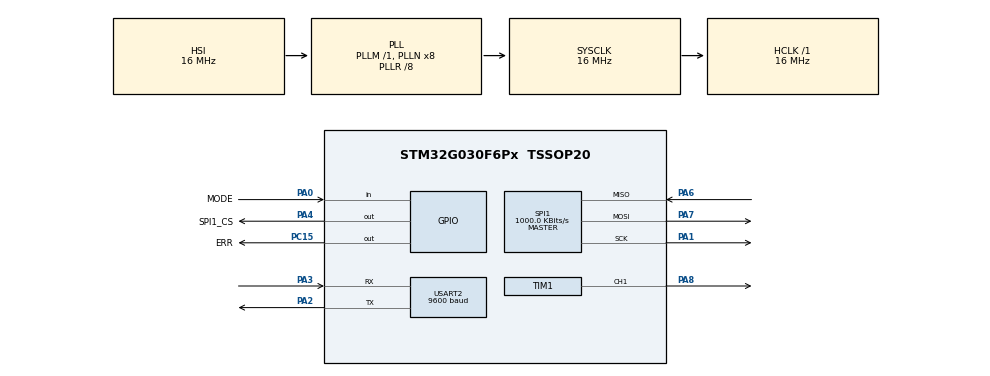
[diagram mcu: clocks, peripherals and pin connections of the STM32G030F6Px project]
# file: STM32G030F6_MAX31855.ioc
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Mcu.Family=STM32G0
Mcu.Name=STM32G030F6Px
Mcu.Package=TSSOP20
PA0.GPIO_Label=MODE
PA0.GPIO_PuPd=GPIO_PULLUP
PA0.Signal=GPIO_Input
PA1.Mode=Full_Duplex_Master
PA1.Signal=SPI1_SCK
PA13.Mode=Serial_Wire
PA13.Signal=SYS_SWDIO
PA14-BOOT0.Mode=Serial_Wire
PA14-BOOT0.Signal=SYS_SWCLK
PA2.Mode=Asynchronous
PA2.Signal=USART2_TX
PA3.Mode=Asynchronous
PA3.Signal=USART2_RX
PA4.GPIO_Label=SPI1_CS
PA4.PinState=GPIO_PIN_SET
PA4.Signal=GPIO_Output
PA6.Mode=Full_Duplex_Master
PA6.Signal=SPI1_MISO
PA7.Mode=Full_Duplex_Master
PA7.Signal=SPI1_MOSI
PA8.Signal=S_TIM1_CH1
PC15-OSC32_OUT\ (PC15).GPIO_Label=ERR
PC15-OSC32_OUT\ (PC15).Signal=GPIO_Output
ProjectManager.HeapSize=0x200
ProjectManager.StackSize=0x400
ProjectManager.TargetToolchain=SW4STM32
RCC.ADCFreq_Value=16000000
RCC.AHBFreq_Value=16000000
RCC.CortexFreq_Value=16000000
RCC.EXTERNAL_CLOCK_VALUE=12288000
RCC.HCLKFreq_Value=16000000
RCC.HSE_VALUE=8000000
RCC.HSI_VALUE=16000000
RCC.LSE_VALUE=32768
RCC.PLLR=RCC_PLLR_DIV8
RCC.SYSCLKFreq_VALUE=16000000
RCC.SYSCLKSource=RCC_SYSCLKSOURCE_PLLCLK
RCC.VCOOutputFreq_Value=128000000
SH.S_TIM1_CH1.0=TIM1_CH1,PWM Generation1 CH1
SPI1.BaudRatePrescaler=SPI_BAUDRATEPRESCALER_16
SPI1.CalculateBaudRate=1000.0 KBits/s
SPI1.Direction=SPI_DIRECTION_2LINES
SPI1.Mode=SPI_MODE_MASTER
SPI1.VirtualType=VM_MASTER
TIM1.Channel-PWM\ Generation1\ CH1=TIM_CHANNEL_1
TIM1.Period=4096
TIM1.Prescaler=2
USART2.BaudRate=9600
USART2.VirtualMode-Asynchronous=VM_ASYNC
board=custom

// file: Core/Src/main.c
/* USER CODE BEGIN Header */
/**
  ******************************************************************************
  * @file           : main.c
  * @brief          : Main program body
  ******************************************************************************
  * @attention
  *
  * <h2><center>&copy; Copyright (c) 2022 STMicroelectronics.
  * All rights reserved.</center></h2>
  *
  * This software component is licensed by ST under BSD 3-Clause license,
  * the "License"; You may not use this file except in compliance with the
  * License. You may obtain a copy of the License at:
  *                        opensource.org/licenses/BSD-3-Clause
  *
  ******************************************************************************
  */
/* USER CODE END Header */
#include "main.h"

/* USER CODE BEGIN Includes */
#include <stdio.h>
#include <stdbool.h>
/* USER CODE END Includes */

/* USER CODE BEGIN PM */

#define SETTING1
//#define SETTING2
//#define SETTING3

#define AMP_OFFSET		0.000f

#ifdef SETTING1
	#define LGAIN 		200.0f	 // 'C/V
	#define HGAIN		400.0f	 // 'C/V
	#define VOFFSET 	1.25f	 // V/'C
	#define MAXDUTY		4095.0f
	#define MINVOLT		0.001f
	#define MAXVOLT		3.280f
#endif

#ifdef SETTING2
	#define LGAIN 		200.0f	 // 'C/V
	#define HGAIN		400.0f	 // 'C/V
	#define VOFFSET 	0.5f	 // V/'C
	#define MAXDUTY		4095.0f
	#define MINVOLT		0.001f
	#define MAXVOLT		3.280f
#endif

#ifdef SETTING3
	#define LGAIN 		100.0f	 // 'C/V
	#define HGAIN		256.41f	 // 'C/V
	#define VOFFSET 	0.0f	 // V/'C
	#define MAXDUTY		4095.0f
	#define MINVOLT		0.001f
	#define MAXVOLT		3.280f
#endif

#define USE_DEBUG

/* USER CODE END PM */

SPI_HandleTypeDef hspi1;

TIM_HandleTypeDef htim1;

UART_HandleTypeDef huart2;

/* USER CODE BEGIN PV */
volatile bool HighGainMode=false;
#ifdef USE_DEBUG
int _write( int file, char *ptr, int len )
{
  HAL_UART_Transmit(&huart2,(uint8_t*) ptr, len, 1000);
  return len;
}
#endif
/* USER CODE END PV */

void SystemClock_Config(void);
static void MX_GPIO_Init(void);
static void MX_SPI1_Init(void);
static void MX_TIM1_Init(void);
static void MX_USART2_UART_Init(void);

/* USER CODE BEGIN 0 */
void GetTmp(float *tmp, uint8_t *err)
{
	uint8_t 	rdata[4]={0x00};
	uint8_t 	wdata[4]={0x00};

	uint32_t    rawData;
	int32_t 	valData;
	float 		valFloat;

	//CS Low
	LL_GPIO_ResetOutputPin(SPI1_CS_GPIO_Port, SPI1_CS_Pin);
	//Recieve
	HAL_SPI_TransmitReceive(&hspi1, wdata, rdata, 4, 0xFFF);
	//CS High
	LL_GPIO_SetOutputPin(SPI1_CS_GPIO_Port, SPI1_CS_Pin);

	rawData = rdata[0];
	rawData <<= 8;
	rawData |= rdata[1];
	rawData <<= 8;
	rawData |= rdata[2];
	rawData <<= 8;
	rawData |= rdata[3];
	valData=rawData;

	float 		internal;
	internal = (valData >> 4) & 0x7FF;
	internal *= 0.0625;
	if ((valData >> 4) & 0x800)
		internal *= -1;

	if (valData & 0x80000000)
		valData = 0xFFFFC000 | ((valData >> 18) & 0x00003FFF);
	else
		valData >>= 18;
	valFloat=valData;
	valFloat *= 0.25;

	//printf("DATA:%2X %2X %2X %2X \t",rdata[0],rdata[1],rdata[2],rdata[3]);

	*tmp=valFloat;
	*err=rdata[3]&0x03;

}

void ConvertTemp2Duty(float temp, uint8_t err, uint16_t *duty)
{
	float volt=0.0f;
	if(HighGainMode==true)
		volt= temp/HGAIN + VOFFSET+(AMP_OFFSET);
	else
		volt= temp/LGAIN + VOFFSET+(AMP_OFFSET);

	float dutyValue=0;
	if(volt<0)
		volt=0.0f;

	dutyValue = volt/(MAXVOLT-MINVOLT)*MAXDUTY;

	if(dutyValue>4095.0f)
		dutyValue=MAXDUTY;
	*duty=(uint16_t)dutyValue;

#ifdef USE_DEBUG
	//printf("duty:%d, v:%f, err:%d,",*duty, volt-(AMP_OFFSET), err);
#endif

}
/* USER CODE END 0 */

int main(void)
{

  /* MCU Configuration--------------------------------------------------------*/

  /* Reset of all peripherals, Initializes the Flash interface and the Systick. */
  HAL_Init();

  /* Configure the system clock */
  SystemClock_Config();

  /* Initialize all configured peripherals */
  MX_GPIO_Init();
  MX_SPI1_Init();
  MX_TIM1_Init();
  MX_USART2_UART_Init();
  /* USER CODE BEGIN 2 */

  if((LL_GPIO_ReadInputPort(MODE_GPIO_Port) & MODE_Pin)==0)
  {
	  HighGainMode=true;
  }

  uint16_t duty=0;
  float tmp=0.0f;
  uint8_t err=0;
  HAL_TIM_OC_Start_IT(&htim1, TIM_CHANNEL_1);
  __HAL_TIM_SET_COMPARE( &htim1, TIM_CHANNEL_1, duty);
#ifdef USE_DEBUG
  //printf("Init OK!!\r\n");
#endif

  /* USER CODE END 2 */

  /* Infinite loop */
  while (1)
  {

    /* USER CODE BEGIN 3 */
	  GetTmp(&tmp, &err);
	  ConvertTemp2Duty(tmp, err, &duty);
	  __HAL_TIM_SET_COMPARE( &htim1, TIM_CHANNEL_1, duty);

	  if(err!=0)
		  HAL_GPIO_WritePin(ERR_GPIO_Port, ERR_Pin, GPIO_PIN_SET);
	  else
		  HAL_GPIO_WritePin(ERR_GPIO_Port, ERR_Pin, GPIO_PIN_RESET);
#ifdef USE_DEBUG
	  printf("%2.2f\r\n",tmp);
#endif
	  HAL_Delay(80);
  }
  /* USER CODE END 3 */
}

void SystemClock_Config(void)
{
  RCC_OscInitTypeDef RCC_OscInitStruct = {0};
  RCC_ClkInitTypeDef RCC_ClkInitStruct = {0};

  /** Configure the main internal regulator output voltage
  */
  HAL_PWREx_ControlVoltageScaling(PWR_REGULATOR_VOLTAGE_SCALE1);
  /** Initializes the RCC Oscillators according to the specified parameters
  * in the RCC_OscInitTypeDef structure.
  */
  RCC_OscInitStruct.OscillatorType = RCC_OSCILLATORTYPE_HSI;
  RCC_OscInitStruct.HSIState = RCC_HSI_ON;
  RCC_OscInitStruct.HSIDiv = RCC_HSI_DIV1;
  RCC_OscInitStruct.HSICalibrationValue = RCC_HSICALIBRATION_DEFAULT;
  RCC_OscInitStruct.PLL.PLLState = RCC_PLL_ON;
  RCC_OscInitStruct.PLL.PLLSource = RCC_PLLSOURCE_HSI;
  RCC_OscInitStruct.PLL.PLLM = RCC_PLLM_DIV1;
  RCC_OscInitStruct.PLL.PLLN = 8;
  RCC_OscInitStruct.PLL.PLLP = RCC_PLLP_DIV2;
  RCC_OscInitStruct.PLL.PLLR = RCC_PLLR_DIV8;
  if (HAL_RCC_OscConfig(&RCC_OscInitStruct) != HAL_OK)
  {
    Error_Handler();
  }
  /** Initializes the CPU, AHB and APB buses clocks
  */
  RCC_ClkInitStruct.ClockType = RCC_CLOCKTYPE_HCLK|RCC_CLOCKTYPE_SYSCLK
                              |RCC_CLOCKTYPE_PCLK1;
  RCC_ClkInitStruct.SYSCLKSource = RCC_SYSCLKSOURCE_PLLCLK;
  RCC_ClkInitStruct.AHBCLKDivider = RCC_SYSCLK_DIV1;
  RCC_ClkInitStruct.APB1CLKDivider = RCC_HCLK_DIV1;

  if (HAL_RCC_ClockConfig(&RCC_ClkInitStruct, FLASH_LATENCY_0) != HAL_OK)
  {
    Error_Handler();
  }
}

static void MX_SPI1_Init(void)
{

  /* SPI1 parameter configuration*/
  hspi1.Instance = SPI1;
  hspi1.Init.Mode = SPI_MODE_MASTER;
  hspi1.Init.Direction = SPI_DIRECTION_2LINES;
  hspi1.Init.DataSize = SPI_DATASIZE_8BIT;
  hspi1.Init.CLKPolarity = SPI_POLARITY_LOW;
  hspi1.Init.CLKPhase = SPI_PHASE_1EDGE;
  hspi1.Init.NSS = SPI_NSS_SOFT;
  hspi1.Init.BaudRatePrescaler = SPI_BAUDRATEPRESCALER_16;
  hspi1.Init.FirstBit = SPI_FIRSTBIT_MSB;
  hspi1.Init.TIMode = SPI_TIMODE_DISABLE;
  hspi1.Init.CRCCalculation = SPI_CRCCALCULATION_DISABLE;
  hspi1.Init.CRCPolynomial = 7;
  hspi1.Init.CRCLength = SPI_CRC_LENGTH_DATASIZE;
  hspi1.Init.NSSPMode = SPI_NSS_PULSE_ENABLE;
  if (HAL_SPI_Init(&hspi1) != HAL_OK)
  {
    Error_Handler();
  }

}

static void MX_TIM1_Init(void)
{

  TIM_MasterConfigTypeDef sMasterConfig = {0};
  TIM_OC_InitTypeDef sConfigOC = {0};
  TIM_BreakDeadTimeConfigTypeDef sBreakDeadTimeConfig = {0};

  htim1.Instance = TIM1;
  htim1.Init.Prescaler = 2;
  htim1.Init.CounterMode = TIM_COUNTERMODE_UP;
  htim1.Init.Period = 4096;
  htim1.Init.ClockDivision = TIM_CLOCKDIVISION_DIV1;
  htim1.Init.RepetitionCounter = 0;
  htim1.Init.AutoReloadPreload = TIM_AUTORELOAD_PRELOAD_DISABLE;
  if (HAL_TIM_PWM_Init(&htim1) != HAL_OK)
  {
    Error_Handler();
  }
  sMasterConfig.MasterOutputTrigger = TIM_TRGO_RESET;
  sMasterConfig.MasterOutputTrigger2 = TIM_TRGO2_RESET;
  sMasterConfig.MasterSlaveMode = TIM_MASTERSLAVEMODE_DISABLE;
  if (HAL_TIMEx_MasterConfigSynchronization(&htim1, &sMasterConfig) != HAL_OK)
  {
    Error_Handler();
  }
  sConfigOC.OCMode = TIM_OCMODE_PWM1;
  sConfigOC.Pulse = 0;
  sConfigOC.OCPolarity = TIM_OCPOLARITY_HIGH;
  sConfigOC.OCNPolarity = TIM_OCNPOLARITY_HIGH;
  sConfigOC.OCFastMode = TIM_OCFAST_DISABLE;
  sConfigOC.OCIdleState = TIM_OCIDLESTATE_RESET;
  sConfigOC.OCNIdleState = TIM_OCNIDLESTATE_RESET;
  if (HAL_TIM_PWM_ConfigChannel(&htim1, &sConfigOC, TIM_CHANNEL_1) != HAL_OK)
  {
    Error_Handler();
  }
  sBreakDeadTimeConfig.OffStateRunMode = TIM_OSSR_DISABLE;
  sBreakDeadTimeConfig.OffStateIDLEMode = TIM_OSSI_DISABLE;
  sBreakDeadTimeConfig.LockLevel = TIM_LOCKLEVEL_OFF;
  sBreakDeadTimeConfig.DeadTime = 0;
  sBreakDeadTimeConfig.BreakState = TIM_BREAK_DISABLE;
  sBreakDeadTimeConfig.BreakPolarity = TIM_BREAKPOLARITY_HIGH;
  sBreakDeadTimeConfig.BreakFilter = 0;
  sBreakDeadTimeConfig.BreakAFMode = TIM_BREAK_AFMODE_INPUT;
  sBreakDeadTimeConfig.Break2State = TIM_BREAK2_DISABLE;
  sBreakDeadTimeConfig.Break2Polarity = TIM_BREAK2POLARITY_HIGH;
  sBreakDeadTimeConfig.Break2Filter = 0;
  sBreakDeadTimeConfig.Break2AFMode = TIM_BREAK_AFMODE_INPUT;
  sBreakDeadTimeConfig.AutomaticOutput = TIM_AUTOMATICOUTPUT_DISABLE;
  if (HAL_TIMEx_ConfigBreakDeadTime(&htim1, &sBreakDeadTimeConfig) != HAL_OK)
  {
    Error_Handler();
  }
  HAL_TIM_MspPostInit(&htim1);

}

static void MX_USART2_UART_Init(void)
{

  /* USER CODE BEGIN USART2_Init 0 */
#ifdef USE_DEBUG
  /* USER CODE END USART2_Init 0 */

  huart2.Instance = USART2;
  huart2.Init.BaudRate = 9600;
  huart2.Init.WordLength = UART_WORDLENGTH_8B;
  huart2.Init.StopBits = UART_STOPBITS_1;
  huart2.Init.Parity = UART_PARITY_NONE;
  huart2.Init.Mode = UART_MODE_TX_RX;
  huart2.Init.HwFlowCtl = UART_HWCONTROL_NONE;
  huart2.Init.OverSampling = UART_OVERSAMPLING_16;
  huart2.Init.OneBitSampling = UART_ONE_BIT_SAMPLE_DISABLE;
  huart2.Init.ClockPrescaler = UART_PRESCALER_DIV1;
  huart2.AdvancedInit.AdvFeatureInit = UART_ADVFEATURE_NO_INIT;
  if (HAL_UART_Init(&huart2) != HAL_OK)
  {
    Error_Handler();
  }
  /* USER CODE BEGIN USART2_Init 2 */
#endif
  /* USER CODE END USART2_Init 2 */

}

static void MX_GPIO_Init(void)
{
  LL_GPIO_InitTypeDef GPIO_InitStruct = {0};

  /* GPIO Ports Clock Enable */
  LL_IOP_GRP1_EnableClock(LL_IOP_GRP1_PERIPH_GPIOC);
  LL_IOP_GRP1_EnableClock(LL_IOP_GRP1_PERIPH_GPIOA);

  /**/
  LL_GPIO_SetOutputPin(ERR_GPIO_Port, ERR_Pin);

  /**/
  LL_GPIO_SetOutputPin(SPI1_CS_GPIO_Port, SPI1_CS_Pin);

  /**/
  GPIO_InitStruct.Pin = ERR_Pin;
  GPIO_InitStruct.Mode = LL_GPIO_MODE_OUTPUT;
  GPIO_InitStruct.Speed = LL_GPIO_SPEED_FREQ_LOW;
  GPIO_InitStruct.OutputType = LL_GPIO_OUTPUT_PUSHPULL;
  GPIO_InitStruct.Pull = LL_GPIO_PULL_NO;
  LL_GPIO_Init(ERR_GPIO_Port, &GPIO_InitStruct);

  /**/
  GPIO_InitStruct.Pin = MODE_Pin;
  GPIO_InitStruct.Mode = LL_GPIO_MODE_INPUT;
  GPIO_InitStruct.Pull = LL_GPIO_PULL_UP;
  LL_GPIO_Init(MODE_GPIO_Port, &GPIO_InitStruct);

  /**/
  GPIO_InitStruct.Pin = SPI1_CS_Pin;
  GPIO_InitStruct.Mode = LL_GPIO_MODE_OUTPUT;
  GPIO_InitStruct.Speed = LL_GPIO_SPEED_FREQ_LOW;
  GPIO_InitStruct.OutputType = LL_GPIO_OUTPUT_PUSHPULL;
  GPIO_InitStruct.Pull = LL_GPIO_PULL_NO;
  LL_GPIO_Init(SPI1_CS_GPIO_Port, &GPIO_InitStruct);

}

void Error_Handler(void)
{
  __disable_irq();
  while (1)
  {
  }
}

/************************ (C) COPYRIGHT STMicroelectronics *****END OF FILE****/
